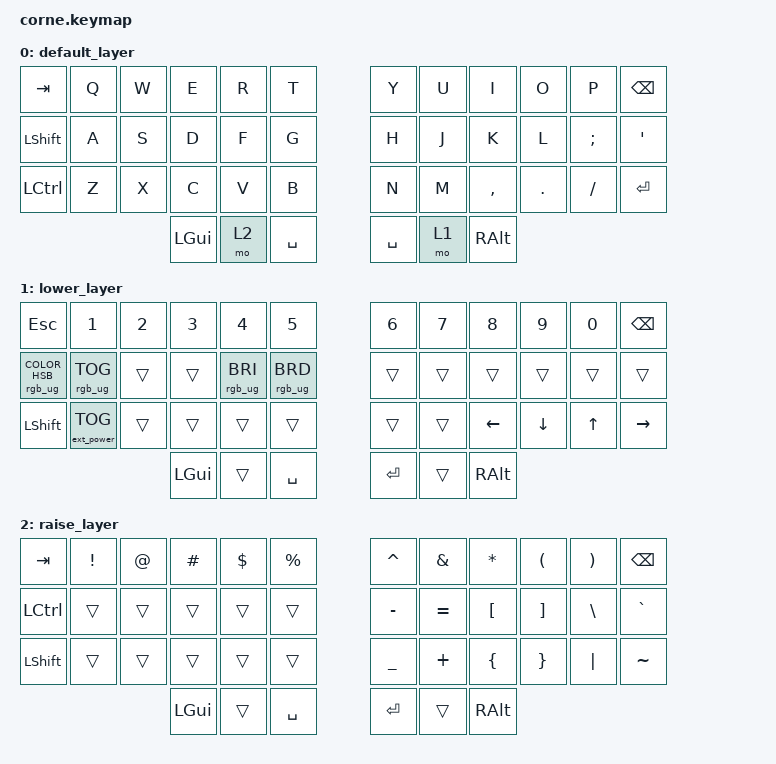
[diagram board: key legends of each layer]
/*
 * Copyright (c) 2020 The ZMK Contributors
 *
 * SPDX-License-Identifier: MIT
 */

#include <behaviors.dtsi>
#include <dt-bindings/zmk/keys.h>
#include <dt-bindings/zmk/bt.h>
#include <dt-bindings/zmk/ext_power.h>
#include <dt-bindings/zmk/rgb.h>

&led_strip {
    chain-length = <27>;
};

/ {
        keymap {
                compatible = "zmk,keymap";

                default_layer {
// -----------------------------------------------------------------------------------------
// |  TAB |  Q  |  W  |  E  |  R  |  T  |   |  Y  |  U   |  I  |  O  |  P  | BSPC |
// | SHFT |  A  |  S  |  D  |  F  |  G  |   |  H  |  J   |  K  |  L  |  ;  |  '   |
// | CTRL |  Z  |  X  |  C  |  V  |  B  |   |  N  |  M   |  ,  |  .  |  /  | ENT  |
//                    | GUI | RSE | SPC |   | SPC | LWR  | ALT |
                        bindings = <
   &kp TAB   &kp Q &kp W &kp E &kp R &kp T   &kp Y &kp U  &kp I     &kp O   &kp P    &kp BSPC
   &kp LSHFT &kp A &kp S &kp D &kp F &kp G   &kp H &kp J  &kp K     &kp L   &kp SEMI &kp SQT
   &kp LCTRL &kp Z &kp X &kp C &kp V &kp B   &kp N &kp M  &kp COMMA &kp DOT &kp FSLH &kp RET
                  &kp LGUI &mo 2 &kp SPACE   &kp SPC &mo 1 &kp RALT
                        >;
                };
                lower_layer {
// -----------------------------------------------------------------------------------------
// |  ESC |  1  |  2  |  3  |  4  |  5  |   |  6  |  7  |  8  |  9  |  0  | BSPC |
// |RGBBLU|RGBIO| RGBF| RGBB| RGBU| RGBD|   |     |     |     |     |     |      |
// | SHFT | PWR |     |     |     |     |   |     |     | LFT | DWN |  UP |  RGT |
//                    | GUI |     | SPC |   | ENT |     | ALT |
                        bindings = <
   &kp ESC                        &kp N1               &kp N2   &kp N3       &kp N4             &kp N5                   &kp N6   &kp N7   &kp N8   &kp N9   &kp N0 &kp BSPC
   &rgb_ug RGB_COLOR_HSB(0,0,255) &rgb_ug RGB_TOG      &trans   &trans       &rgb_ug RGB_BRI    &rgb_ug RGB_BRD          &trans         &trans   &trans   &trans   &trans   &trans
   &kp LSHFT                      &ext_power EP_TOG    &trans   &trans       &trans             &trans                   &trans   &trans   &kp LEFT &kp DOWN &kp UP &kp RIGHT
                                    &kp LGUI     &trans       &kp SPACE        &kp RET  &trans   &kp RALT
                        >;
                };

                raise_layer {
// -----------------------------------------------------------------------------------------
// |  TAB |  !  |  @  |  #  |  $  |  %  |   |  ^  |  &  |  *  |  (  |  )  | BSPC |
// | CTRL |     |     |     |     |     |   |  -  |  =  |  [  |  ]  |  \  |  `   |
// | SHFT |     |     |     |     |     |   |  _  |  +  |  {  |  }  | "|" |  ~   |
//                    | GUI |     | SPC |   | ENT |     | ALT |
                        bindings = <
   &kp  TAB  &kp EXCL &kp AT &kp HASH &kp DLLR &kp PRCNT   &kp CARET &kp AMPS  &kp ASTRK &kp LPAR &kp RPAR &kp BSPC
   &kp LCTRL &trans   &trans &trans   &trans   &trans      &kp MINUS &kp EQUAL &kp LBKT  &kp RBKT &kp BSLH &kp GRAVE
   &kp LSHFT &trans   &trans &trans   &trans   &trans      &kp UNDER &kp PLUS  &kp LBRC  &kp RBRC &kp PIPE &kp TILDE
                             &kp LGUI &trans   &kp SPACE   &kp RET   &trans    &kp RALT
                        >;
                };
        };
};
